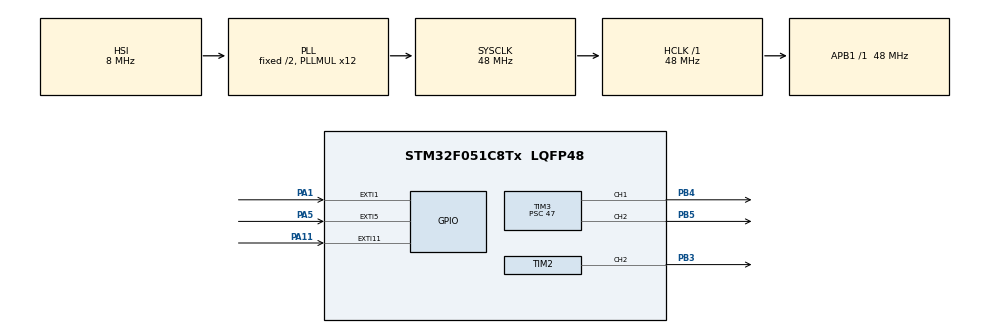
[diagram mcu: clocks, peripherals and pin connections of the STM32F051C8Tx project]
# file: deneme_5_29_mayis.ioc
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Mcu.Family=STM32F0
Mcu.Name=STM32F051C8Tx
Mcu.Package=LQFP48
NVIC.EXTI0_1_IRQn=true\:0\:0\:false\:false\:true\:true\:true
NVIC.EXTI4_15_IRQn=true\:0\:0\:true\:false\:true\:true\:true
NVIC.RCC_IRQn=true\:0\:0\:false\:false\:true\:true\:false
PA1.Signal=GPXTI1
PA11.Signal=GPXTI11
PA13.Mode=Serial_Wire
PA13.Signal=SYS_SWDIO
PA14.Mode=Serial_Wire
PA14.Signal=SYS_SWCLK
PA5.Signal=GPXTI5
PB3.Signal=S_TIM2_CH2
PB4.Signal=S_TIM3_CH1
PB5.Signal=S_TIM3_CH2
PC14-OSC32_IN.Mode=LSE-External-Oscillator
PC14-OSC32_IN.Signal=RCC_OSC32_IN
PC15-OSC32_OUT.Mode=LSE-External-Oscillator
PC15-OSC32_OUT.Signal=RCC_OSC32_OUT
PF0-OSC_IN.Mode=HSE-External-Oscillator
PF0-OSC_IN.Signal=RCC_OSC_IN
PF1-OSC_OUT.Mode=HSE-External-Oscillator
PF1-OSC_OUT.Signal=RCC_OSC_OUT
ProjectManager.HeapSize=0x200
ProjectManager.StackSize=0x400
ProjectManager.TargetToolchain=STM32CubeIDE
RCC.AHBFreq_Value=48000000
RCC.APB1Freq_Value=48000000
RCC.APB1TimFreq_Value=48000000
RCC.HCLKFreq_Value=48000000
RCC.PLLMUL=RCC_PLL_MUL12
RCC.SYSCLKFreq_VALUE=48000000
RCC.SYSCLKSource=RCC_SYSCLKSOURCE_PLLCLK
SH.S_TIM2_CH2.0=TIM2_CH2,PWM Generation2 CH2
SH.S_TIM3_CH1.0=TIM3_CH1,PWM Generation1 CH1
SH.S_TIM3_CH2.0=TIM3_CH2,PWM Generation2 CH2
TIM2.Channel-PWM\ Generation2\ CH2=TIM_CHANNEL_2
TIM2.OCFastMode_PWM-PWM\ Generation2\ CH2=TIM_OCFAST_ENABLE
TIM2.Period=999
TIM2.Prescaler=48
TIM3.Channel-PWM\ Generation1\ CH1=TIM_CHANNEL_1
TIM3.Channel-PWM\ Generation2\ CH2=TIM_CHANNEL_2
TIM3.Period=999
TIM3.Prescaler=47
VP_TIM2_VS_ClockSourceINT.Mode=Internal
VP_TIM3_VS_ClockSourceINT.Mode=Internal
board=custom

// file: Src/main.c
/* USER CODE BEGIN Header */
/**
  ******************************************************************************
  * @file           : main.c
  * @brief          : Main program body
  ******************************************************************************
  * @attention
  *
  * <h2><center>&copy; Copyright (c) 2023 STMicroelectronics.
  * All rights reserved.</center></h2>
  *
  * This software component is licensed by ST under BSD 3-Clause license,
  * the "License"; You may not use this file except in compliance with the
  * License. You may obtain a copy of the License at:
  *                        opensource.org/licenses/BSD-3-Clause
  *
  ******************************************************************************
  */
/* USER CODE END Header */
#include "main.h"

TIM_HandleTypeDef htim2;
TIM_HandleTypeDef htim3;

void SystemClock_Config(void);
static void MX_GPIO_Init(void);
static void MX_TIM2_Init(void);
static void MX_TIM3_Init(void);

/* USER CODE BEGIN 0 */
uint8_t count1 = 0;
uint8_t count2 = 0;
uint8_t count3 = 0;
uint32_t i = 0;
uint32_t previousMillis = 0;
uint32_t currentMillis = 0;

void HAL_GPIO_EXTI_Callback(uint16_t GPIO_Pin)
{
	currentMillis = HAL_GetTick();
	if(GPIO_Pin == GPIO_PIN_1 && (currentMillis - previousMillis > 10))
	{
		count1 = count1 + 1;
		if(count1 > 1)
		{
			count1 = 0;
		}
		previousMillis = currentMillis;
	}

	if(GPIO_Pin == GPIO_PIN_5 && (currentMillis - previousMillis > 10))
	{
		count2 = count2 + 1;
		if(count2 > 1)
		{
			count2 = 0;
		}
		previousMillis = currentMillis;
	}

	if(GPIO_Pin == GPIO_PIN_11 && (currentMillis - previousMillis > 10))
	{
		count3 = count3 + 1;
		if(count3 > 1)
		{
			count3 = 0;
		}
		previousMillis = currentMillis;
	}

}

/* USER CODE END 0 */

int main(void)
{

  /* MCU Configuration--------------------------------------------------------*/

  /* Reset of all peripherals, Initializes the Flash interface and the Systick. */
  HAL_Init();

  /* Configure the system clock */
  SystemClock_Config();

  /* Initialize all configured peripherals */
  MX_GPIO_Init();
  MX_TIM2_Init();
  MX_TIM3_Init();
  /* USER CODE BEGIN 2 */
  HAL_TIM_PWM_Start(&htim2, TIM_CHANNEL_2);
  HAL_TIM_PWM_Start(&htim3, TIM_CHANNEL_1);
  HAL_TIM_PWM_Start(&htim3, TIM_CHANNEL_2);

  /* USER CODE END 2 */

  /* Infinite loop */
  while (1)
  {

    /* USER CODE BEGIN 3 */

	  if(count1 == 0 || count2 == 0 || count3 == 0)
	  {
		  __HAL_TIM_SET_COMPARE(&htim2, TIM_CHANNEL_2, 0);
		  __HAL_TIM_SET_COMPARE(&htim3, TIM_CHANNEL_1, 0);
		  __HAL_TIM_SET_COMPARE(&htim3, TIM_CHANNEL_2, 0);
		  HAL_Delay(1);

	  }

	  if(count1 == 1)
	  {
		  for(i = 0; i <= 999; i++)
		  {
			  __HAL_TIM_SET_COMPARE(&htim2, TIM_CHANNEL_2, i);
			  HAL_Delay(1);
		  }
	  }
	  /*
	  500ms de bit ekrana tarih yazan bir rtc kullan.
	  hal get tick yaz.
	  Uart in içindeki bilgiyi yaz (+EREN\n) EREN alsın.
	  */

	  if(count2 == 1)
	  {
		  for(i = 0; i <= 999; i++)
		  {
			  __HAL_TIM_SET_COMPARE(&htim3, TIM_CHANNEL_1, i);
			  HAL_Delay(1);
		  }
	  }

	  if(count3 == 1)
	  {
		  for(i = 0; i <= 999; i++)
		  {
			  __HAL_TIM_SET_COMPARE(&htim3, TIM_CHANNEL_2, i);
			  HAL_Delay(1);
		  }
	  }

  }
  /* USER CODE END 3 */
}

void SystemClock_Config(void)
{
  RCC_OscInitTypeDef RCC_OscInitStruct = {0};
  RCC_ClkInitTypeDef RCC_ClkInitStruct = {0};

  /** Initializes the RCC Oscillators according to the specified parameters
  * in the RCC_OscInitTypeDef structure.
  */
  RCC_OscInitStruct.OscillatorType = RCC_OSCILLATORTYPE_HSI;
  RCC_OscInitStruct.HSIState = RCC_HSI_ON;
  RCC_OscInitStruct.HSICalibrationValue = RCC_HSICALIBRATION_DEFAULT;
  RCC_OscInitStruct.PLL.PLLState = RCC_PLL_ON;
  RCC_OscInitStruct.PLL.PLLSource = RCC_PLLSOURCE_HSI;
  RCC_OscInitStruct.PLL.PLLMUL = RCC_PLL_MUL12;
  RCC_OscInitStruct.PLL.PREDIV = RCC_PREDIV_DIV1;
  if (HAL_RCC_OscConfig(&RCC_OscInitStruct) != HAL_OK)
  {
    Error_Handler();
  }
  /** Initializes the CPU, AHB and APB buses clocks
  */
  RCC_ClkInitStruct.ClockType = RCC_CLOCKTYPE_HCLK|RCC_CLOCKTYPE_SYSCLK
                              |RCC_CLOCKTYPE_PCLK1;
  RCC_ClkInitStruct.SYSCLKSource = RCC_SYSCLKSOURCE_PLLCLK;
  RCC_ClkInitStruct.AHBCLKDivider = RCC_SYSCLK_DIV1;
  RCC_ClkInitStruct.APB1CLKDivider = RCC_HCLK_DIV1;

  if (HAL_RCC_ClockConfig(&RCC_ClkInitStruct, FLASH_LATENCY_1) != HAL_OK)
  {
    Error_Handler();
  }
}

static void MX_TIM2_Init(void)
{

  TIM_ClockConfigTypeDef sClockSourceConfig = {0};
  TIM_MasterConfigTypeDef sMasterConfig = {0};
  TIM_OC_InitTypeDef sConfigOC = {0};

  htim2.Instance = TIM2;
  htim2.Init.Prescaler = 48;
  htim2.Init.CounterMode = TIM_COUNTERMODE_UP;
  htim2.Init.Period = 999;
  htim2.Init.ClockDivision = TIM_CLOCKDIVISION_DIV1;
  htim2.Init.AutoReloadPreload = TIM_AUTORELOAD_PRELOAD_DISABLE;
  if (HAL_TIM_Base_Init(&htim2) != HAL_OK)
  {
    Error_Handler();
  }
  sClockSourceConfig.ClockSource = TIM_CLOCKSOURCE_INTERNAL;
  if (HAL_TIM_ConfigClockSource(&htim2, &sClockSourceConfig) != HAL_OK)
  {
    Error_Handler();
  }
  if (HAL_TIM_PWM_Init(&htim2) != HAL_OK)
  {
    Error_Handler();
  }
  sMasterConfig.MasterOutputTrigger = TIM_TRGO_RESET;
  sMasterConfig.MasterSlaveMode = TIM_MASTERSLAVEMODE_DISABLE;
  if (HAL_TIMEx_MasterConfigSynchronization(&htim2, &sMasterConfig) != HAL_OK)
  {
    Error_Handler();
  }
  sConfigOC.OCMode = TIM_OCMODE_PWM1;
  sConfigOC.Pulse = 0;
  sConfigOC.OCPolarity = TIM_OCPOLARITY_HIGH;
  sConfigOC.OCFastMode = TIM_OCFAST_ENABLE;
  if (HAL_TIM_PWM_ConfigChannel(&htim2, &sConfigOC, TIM_CHANNEL_2) != HAL_OK)
  {
    Error_Handler();
  }
  HAL_TIM_MspPostInit(&htim2);

}

static void MX_TIM3_Init(void)
{

  TIM_ClockConfigTypeDef sClockSourceConfig = {0};
  TIM_MasterConfigTypeDef sMasterConfig = {0};
  TIM_OC_InitTypeDef sConfigOC = {0};

  htim3.Instance = TIM3;
  htim3.Init.Prescaler = 47;
  htim3.Init.CounterMode = TIM_COUNTERMODE_UP;
  htim3.Init.Period = 999;
  htim3.Init.ClockDivision = TIM_CLOCKDIVISION_DIV1;
  htim3.Init.AutoReloadPreload = TIM_AUTORELOAD_PRELOAD_DISABLE;
  if (HAL_TIM_Base_Init(&htim3) != HAL_OK)
  {
    Error_Handler();
  }
  sClockSourceConfig.ClockSource = TIM_CLOCKSOURCE_INTERNAL;
  if (HAL_TIM_ConfigClockSource(&htim3, &sClockSourceConfig) != HAL_OK)
  {
    Error_Handler();
  }
  if (HAL_TIM_PWM_Init(&htim3) != HAL_OK)
  {
    Error_Handler();
  }
  sMasterConfig.MasterOutputTrigger = TIM_TRGO_RESET;
  sMasterConfig.MasterSlaveMode = TIM_MASTERSLAVEMODE_DISABLE;
  if (HAL_TIMEx_MasterConfigSynchronization(&htim3, &sMasterConfig) != HAL_OK)
  {
    Error_Handler();
  }
  sConfigOC.OCMode = TIM_OCMODE_PWM1;
  sConfigOC.Pulse = 0;
  sConfigOC.OCPolarity = TIM_OCPOLARITY_HIGH;
  sConfigOC.OCFastMode = TIM_OCFAST_DISABLE;
  if (HAL_TIM_PWM_ConfigChannel(&htim3, &sConfigOC, TIM_CHANNEL_1) != HAL_OK)
  {
    Error_Handler();
  }
  if (HAL_TIM_PWM_ConfigChannel(&htim3, &sConfigOC, TIM_CHANNEL_2) != HAL_OK)
  {
    Error_Handler();
  }
  HAL_TIM_MspPostInit(&htim3);

}

static void MX_GPIO_Init(void)
{
  GPIO_InitTypeDef GPIO_InitStruct = {0};

  /* GPIO Ports Clock Enable */
  __HAL_RCC_GPIOC_CLK_ENABLE();
  __HAL_RCC_GPIOF_CLK_ENABLE();
  __HAL_RCC_GPIOA_CLK_ENABLE();
  __HAL_RCC_GPIOB_CLK_ENABLE();

  /*Configure GPIO pins : PA1 PA5 PA11 */
  GPIO_InitStruct.Pin = GPIO_PIN_1|GPIO_PIN_5|GPIO_PIN_11;
  GPIO_InitStruct.Mode = GPIO_MODE_IT_RISING;
  GPIO_InitStruct.Pull = GPIO_NOPULL;
  HAL_GPIO_Init(GPIOA, &GPIO_InitStruct);

  /* EXTI interrupt init*/
  HAL_NVIC_SetPriority(EXTI0_1_IRQn, 0, 0);
  HAL_NVIC_EnableIRQ(EXTI0_1_IRQn);

  HAL_NVIC_SetPriority(EXTI4_15_IRQn, 0, 0);
  HAL_NVIC_EnableIRQ(EXTI4_15_IRQn);

}

void Error_Handler(void)
{
  __disable_irq();
  while (1)
  {
  }
}

/************************ (C) COPYRIGHT STMicroelectronics *****END OF FILE****/
